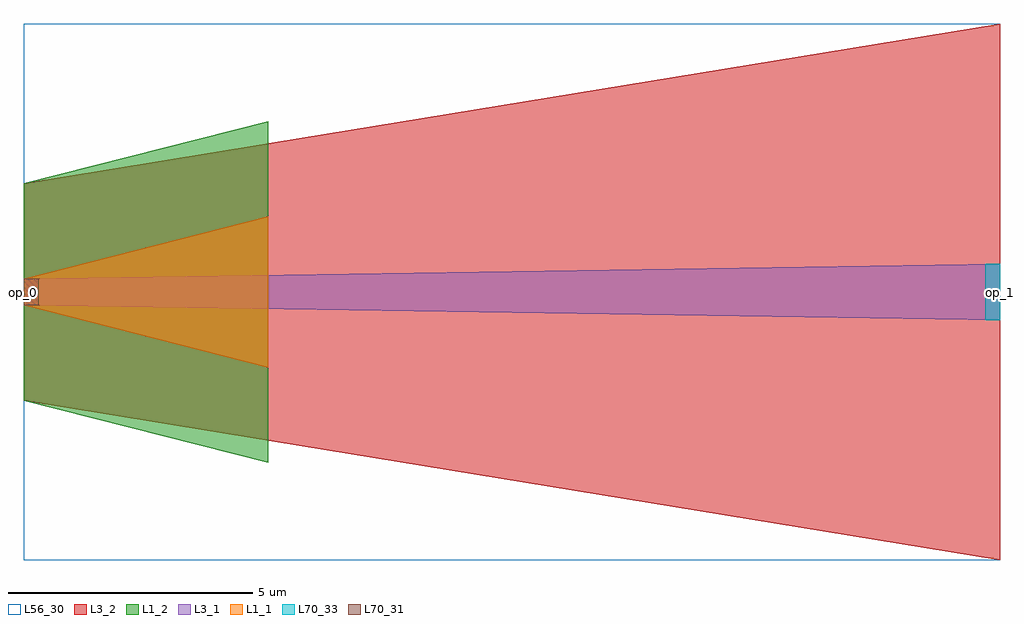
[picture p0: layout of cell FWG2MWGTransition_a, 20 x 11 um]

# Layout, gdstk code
import gdstk
lib = gdstk.Library(unit=1e-6, precision=1e-09)
def R(c, l, rs):  # rectangles x0, y0, x1, y1
    for r in rs: c.add(gdstk.rectangle(r[:2], r[2:], *l))
def P(c, l, *ps):  # polygons
    for p in ps: c.add(gdstk.Polygon(p, *l))
L1_1 = (1, 1)
L1_2 = (1, 2)
L3_1 = (3, 1)
L3_2 = (3, 2)
L56_30 = (56, 30)
L70_31 = (70, 31)
L70_33 = (70, 33)

fwgtransition = lib.new_cell('FWGTransition')
P(fwgtransition, L1_1, [(0,0.275),(5,1.55),(5,-1.55),(0,-0.275)])
P(fwgtransition, L1_2, [(0,2.225),(5,3.5),(5,1.55),(5,-1.55),(5,-3.5),(0,-2.225),(0,-0.275),(0,0.275)])
P(fwgtransition, L3_1, [(0,0.275),(20,0.575),(20,-0.575),(0,-0.275)])
P(fwgtransition, L3_2, [(0,2.225),(20,5.5),(20,0.575),(20,-0.575),(20,-5.5),(0,-2.225),(0,-0.275),(0,0.275)])
R(fwgtransition, L70_31, [(0,-0.275,0.3,0.275)])
R(fwgtransition, L70_33, [(19.7,-0.575,20,0.575)])
fwgtransition.add(gdstk.Label('op_0', (0,0), layer=70, texttype=41))
fwgtransition.add(gdstk.Label('op_1', (20,0), layer=70, texttype=41))

fwg2mwgtransition_a = lib.new_cell('FWG2MWGTransition_a')
R(fwg2mwgtransition_a, L56_30, [(0,14.5,20,25.5)])
P(fwg2mwgtransition_a, L56_30, [(0.2,15.36),(0.2,16.548),(1.124,16.548),(1.124,16.416),(0.332,16.416),(0.332,15.492),(1.124,15.492),(1.124,15.36)])
R(fwg2mwgtransition_a, L70_31, [(0,19.725,0.3,20.275)])
R(fwg2mwgtransition_a, L70_33, [(19.7,19.425,20,20.575)])
fwg2mwgtransition_a.add(gdstk.Reference(fwgtransition, (0,20)))
fwg2mwgtransition_a.add(gdstk.Label('op_0', (0,20), layer=70, texttype=41))
fwg2mwgtransition_a.add(gdstk.Label('op_1', (20,20), layer=70, texttype=41))

lib.write_gds('FWG2MWGTransition_a.gds')
